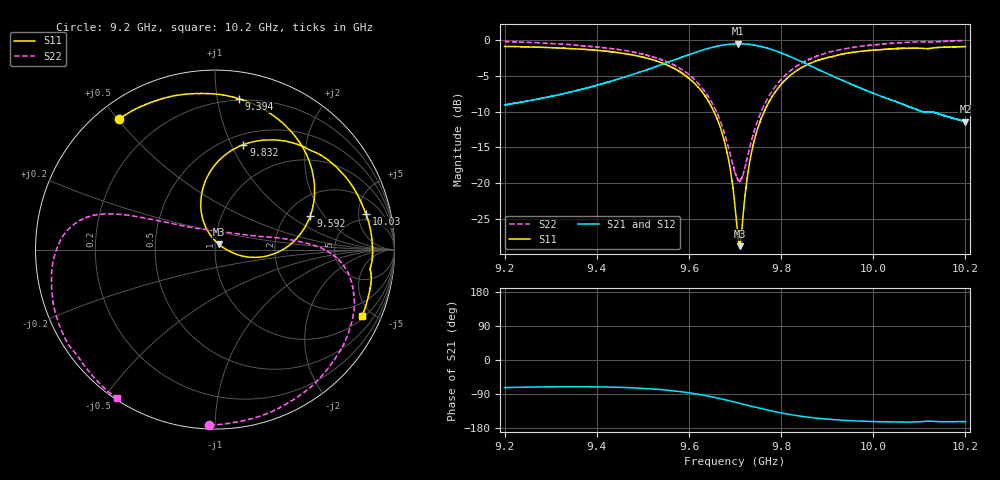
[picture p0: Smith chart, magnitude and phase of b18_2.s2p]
!Agilent Technologies,N5242A,MY51221714,A.09.90.19
!Agilent N5242A: A.09.90.19
!Date: Saturday, March 16, 2024 09:45:44
!Correction: S11(Full 2 Port(1,2))
!S21(Full 2 Port(1,2))
!S12(Full 2 Port(1,2))
!S22(Full 2 Port(1,2))
!S2P File: Measurements: S11, S21, S12, S22:
# Hz S  dB  R 50
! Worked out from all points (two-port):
!   16001 points, 9.2 GHz to 10.2 GHz, reference 50 ohm
!   highest |S21| = -0.51 dB at 9.706 GHz (marker M1); lowest = -11.4 dB at 10.2 GHz (marker M2)
!   |S21| within 3 dB of the highest: 9.537 GHz to 9.861 GHz (324.2 MHz wide, 3.34 % of centre); 9.860853 GHz to 9.860896 GHz (42.83 kHz wide, 0.000434 % of centre)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
!   lowest |S11| = -28.8 dB at 9.71 GHz (marker M3), VSWR 1.08, Z = 52.2 + j3 ohm
!   |S11| at or under -10 dB: 9.654 GHz to 9.763 GHz (108.8 MHz wide, 1.12 % of centre)
!   |S22| runs from -19.8 to -0.1 dB; largest |S21 - S12| = 0.013
!   S11 on the Smith chart (normalised r, x): 9.2 GHz: 0.06, +0.51; 9.394 GHz: 0.19, +1.15; 9.592 GHz: 2.67, +1.49; 9.832 GHz: 0.60, +1.11; 10.03 GHz: 3.96, +6.19; 10.2 GHz: 1.13, -4.35
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9.2e9  -0.90 126.2  -9.06 -72.8  -9.05 -73.4  -0.18 -91.8
9.277562e9  -1.00 108.9  -8.16 -71.2  -8.15 -71.7  -0.40 -70.4
9.366688e9  -1.28 88.0  -6.89 -70.6  -6.87 -71.1  -0.78 -46.7
9.393688e9  -1.42 81.0  -6.44 -70.8  -6.41 -71.4  -0.93 -39.6
9.463875e9  -1.93 62.2  -5.10 -72.8  -5.10 -73.3  -1.51 -23.1
9.533375e9  -3.00 40.9  -3.58 -77.5  -3.57 -78.1  -2.57 -8.9
9.5925e9  -4.97 19.7  -2.21 -85.3  -2.19 -85.9  -4.46 0.5
9.663812e9  -11.45 -8.6  -0.84 -100.9  -0.82 -101.4  -10.58 13.8
9.685188e9  -16.47 -13.0  -0.60 -106.9  -0.59 -107.5  -14.81 27.4
9.7e9  -23.10 -2.8  -0.53 -111.3  -0.51 -111.9  -18.54 53.1
9.705938e9  -27.09 19.1  -0.51 -113.1  -0.50 -113.7  -19.49 70.4
9.71e9  -28.78 52.0  -0.53 -114.3  -0.50 -114.9  -19.74 84.0
9.730875e9  -17.41 112.4  -0.60 -120.7  -0.58 -121.4  -15.29 134.8
9.750688e9  -12.08 108.5  -0.82 -126.6  -0.80 -127.3  -10.99 148.8
9.785062e9  -7.45 94.6  -1.44 -136.0  -1.44 -136.7  -6.67 156.9
9.83175e9  -4.36 74.9  -2.66 -146.3  -2.65 -146.9  -3.71 162.3
9.866688e9  -3.16 61.5  -3.69 -152.1  -3.68 -152.7  -2.53 166.5
9.950438e9  -1.77 34.5  -6.13 -160.1  -6.13 -160.6  -1.08 180.0
1.003025e10  -1.26 13.1  -8.16 -163.1  -8.17 -163.8  -0.50 -163.7
1.003338e10  -1.26 12.4  -8.25 -163.2  -8.23 -163.8  -0.48 -163.0
1.010688e10  -1.15 -5.1  -10.00 -162.5  -10.00 -163.1  -0.24 -146.6
1.02e10  -0.93 -24.4  -11.39 -162.5  -11.37 -163.1  -0.06 -123.4
